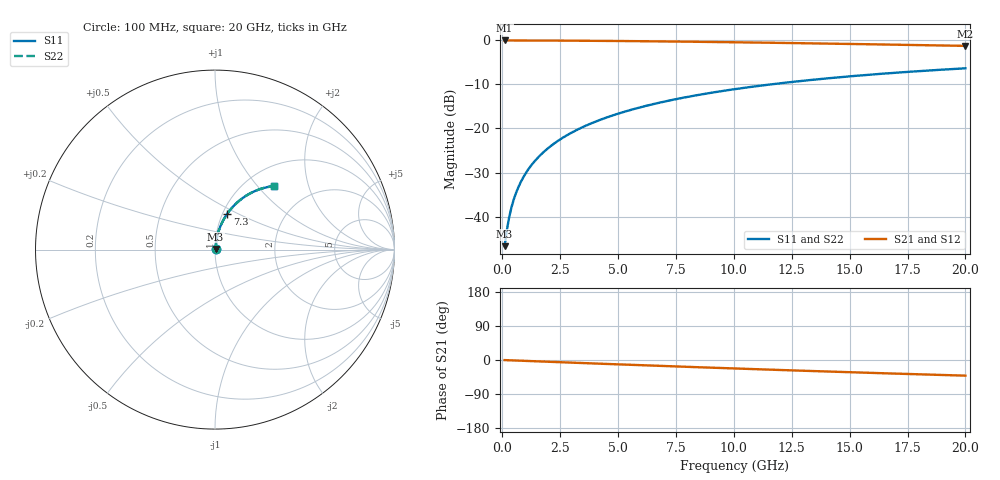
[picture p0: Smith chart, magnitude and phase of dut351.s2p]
! Touchstone file exported from HFSS 2026.1.0
!  File:  C:/ffzhzh/LocalFiles/Ansys_Project_Files/temp_train_TMRDL_351_1783003997_53980.aedt
!  Generated:  10:54:39 PM Jul  2, 2026
!  Design:  TMRDL
!  Project:  temp_train_TMRDL_351_1783003997_53980
! Variables:
!  h_bsmrdl = 2um
!  h_ox = 20um
!  h_rdl = 5um
!  h_sub = 80um
!  h_tmrdl = 4.97um
!  h_tsv = 80um
!  h_via = 3um
!  l_bsmrdl = 300um
!  l_sub = 924.18um
!  l_tmrdl = 524.18um
!  m_sub = 200um
!  pitch = 52.07um
!  r_tsv = 6um
!  s_tmrdl = 10um
!  w_bsmrdl = 18um
!  w_sub = 500um
!  w_tmrdl = 11.07um
!  x_tsv_center1 = 529.715um
!  x_tsv_center2 = 847.715um
!  x_tsv_center3 = 1382.965um
!  x_tsv_center4 = 1700.965um
!  x_tsv_center5 = 2236.215um
!  x_tsv_center6 = 2554.215um
# GHz S MA R 50.000000
! Terminal data exported
! Port[1] = TM_RDL1_1_T1
! Port[2] = TM_RDL1_1_T2
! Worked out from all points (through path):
!   200 points, 100 MHz to 20 GHz, reference 50 ohm
!   highest |S21| = -0.03 dB at 100 MHz (marker M1); lowest = -1.3 dB at 20 GHz (marker M2)
!   group delay of S21, straight-line fit = 5.74 ps
!   lowest |S11| = -46.7 dB at 100 MHz (marker M3), VSWR 1.01, Z = 50.3 + j0.311 ohm
!   |S11| at or under -10 dB: start of sweep to 11.6 GHz
!   |S22| runs from -46.7 to -6.4 dB; largest |S21 - S12| = 2.5e-15
!   S11 on the Smith chart (normalised r, x): 100 MHz: 1.01, +0.01; 7.3 GHz: 1.05, +0.44; 20 GHz: 1.33, +1.22
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0.1  0.004613 42.1  0.9966 -0.2  0.9966 -0.2  0.004613 42.1
! Gamma 0 0 0 0
! Port Impedance 50 0 50 0
0.2  0.007094 60.4  0.9965 -0.5  0.9965 -0.5  0.007094 60.4
0.3  0.009913 68.5  0.9964 -0.7  0.9964 -0.7  0.009913 68.5
0.4  0.01283 72.9  0.9963 -0.9  0.9963 -0.9  0.01283 72.9
0.5  0.01578 75.5  0.9962 -1.2  0.9962 -1.2  0.01578 75.5
0.6  0.01875 77.2  0.9961 -1.4  0.9961 -1.4  0.01875 77.2
0.8  0.02469 79.2  0.9959 -1.9  0.9959 -1.9  0.02469 79.2
1.1  0.03361 80.6  0.9955 -2.6  0.9955 -2.6  0.03361 80.6
1.5  0.04552 81.2  0.9949 -3.5  0.9949 -3.5  0.04552 81.2
1.8  0.05444 81.2  0.9943 -4.2  0.9943 -4.2  0.05443 81.2
2.1  0.06333 81.0  0.9936 -4.9  0.9936 -4.9  0.06333 81.0
2.7  0.08102 80.3  0.992 -6.3  0.992 -6.3  0.08102 80.3
3.5  0.1043 78.9  0.9892 -8.1  0.9892 -8.1  0.1043 78.9
4.2  0.1245 77.6  0.9864 -9.7  0.9864 -9.7  0.1245 77.6
5  0.1471 76.0  0.9827 -11.5  0.9827 -11.5  0.1471 76.0
6.8  0.1964 72.3  0.9729 -15.5  0.9729 -15.5  0.1964 72.3
7.3  0.2097 71.2  0.9698 -16.6  0.9698 -16.6  0.2097 71.2
8.6  0.2434 68.6  0.9612 -19.4  0.9612 -19.4  0.2434 68.6
10.1  0.2807 65.6  0.9504 -22.5  0.9504 -22.5  0.2807 65.6
13.4  0.3565 59.1  0.9237 -29.2  0.9237 -29.2  0.3565 59.1
16.7  0.4233 53.0  0.8947 -35.4  0.8947 -35.4  0.4233 53.0
20  0.4812 47.3  0.8649 -41.3  0.8649 -41.3  0.4812 47.3
